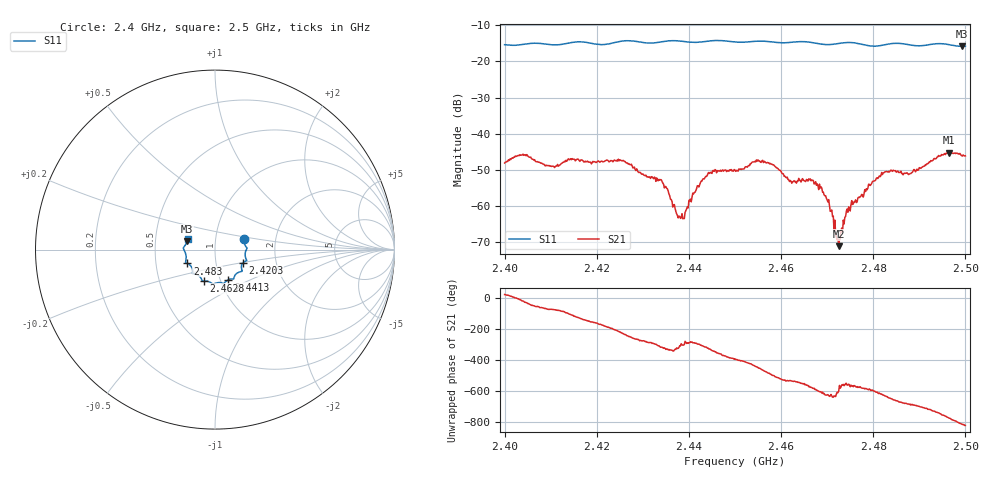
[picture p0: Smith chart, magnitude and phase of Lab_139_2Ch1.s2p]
# Hz S RI R 50
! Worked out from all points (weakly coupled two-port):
!   601 points, 2.4 GHz to 2.5 GHz, reference 50 ohm
!   highest |S21| = -45.29 dB at 2.4965 GHz (marker M1); lowest = -71.2 dB at 2.4725 GHz (marker M2)
!   lowest |S11| = -15.8 dB at 2.4992 GHz (marker M3), VSWR 1.39, Z = 36.4 + j3.54 ohm
!   |S11| at or under -10 dB: start of sweep to end of sweep
!   S12 and S22 are empty: the file has one direction only
!   S11 on the Smith chart (normalised r, x): 2.4 GHz: 1.37, +0.16; 2.4203 GHz: 1.35, -0.21; 2.4413 GHz: 1.09, -0.38; 2.4628 GHz: 0.83, -0.30; 2.483 GHz: 0.72, -0.11; 2.5 GHz: 0.73, +0.09
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2.4e9  0.1606 0.0571  0.00363 0.0015  0 0  0 0
2.403833e9  0.1707 0.0191  0.00481 -0.00167  0 0  0 0
2.416667e9  0.1763 -0.0615  -0.00299 -0.00313  0 0  0 0
2.420333e9  0.1552 -0.074  -0.00409 -0.000962  0 0  0 0
2.4255e9  0.1513 -0.1174  -0.0029 0.00302  0 0  0 0
2.433333e9  0.1081 -0.1485  0.00139 0.00174  0 0  0 0
2.437833e9  0.1006 -0.1639  0.000551 0.000468  0 0  0 0
2.441333e9  0.0744 -0.168  0.000587 0.00143  0 0  0 0
2.444667e9  0.0535 -0.1853  0.00255 0.00138  0 0  0 0
2.45e9  0.0292 -0.1838  0.00263 -0.00169  0 0  0 0
2.456333e9  -0.0133 -0.1901  -0.00151 -0.00385  0 0  0 0
2.462833e9  -0.063 -0.1747  -0.00223 -0.000118  0 0  0 0
2.466667e9  -0.0742 -0.1675  -0.00179 0.00141  0 0  0 0
2.47e9  -0.0926 -0.1439  -0.000109 0.0012  0 0  0 0
2.4725e9  -0.1149 -0.1348  -0.000128 0.000245  0 0  0 0
2.474833e9  -0.1251 -0.1338  -0.000882 0.000338  0 0  0 0
2.483e9  -0.1548 -0.0769  0.000321 0.00296  0 0  0 0
2.483333e9  -0.1569 -0.0757  0.000736 0.00292  0 0  0 0
2.488e9  -0.1609 -0.0525  0.0023 0.00161  0 0  0 0
2.4965e9  -0.1695 0.0194  0.00306 -0.0045  0 0  0 0
2.499167e9  -0.1548 0.0473  -0.00031 -0.00495  0 0  0 0
2.5e9  -0.1526 0.0585  -0.00107 -0.00481  0 0  0 0
